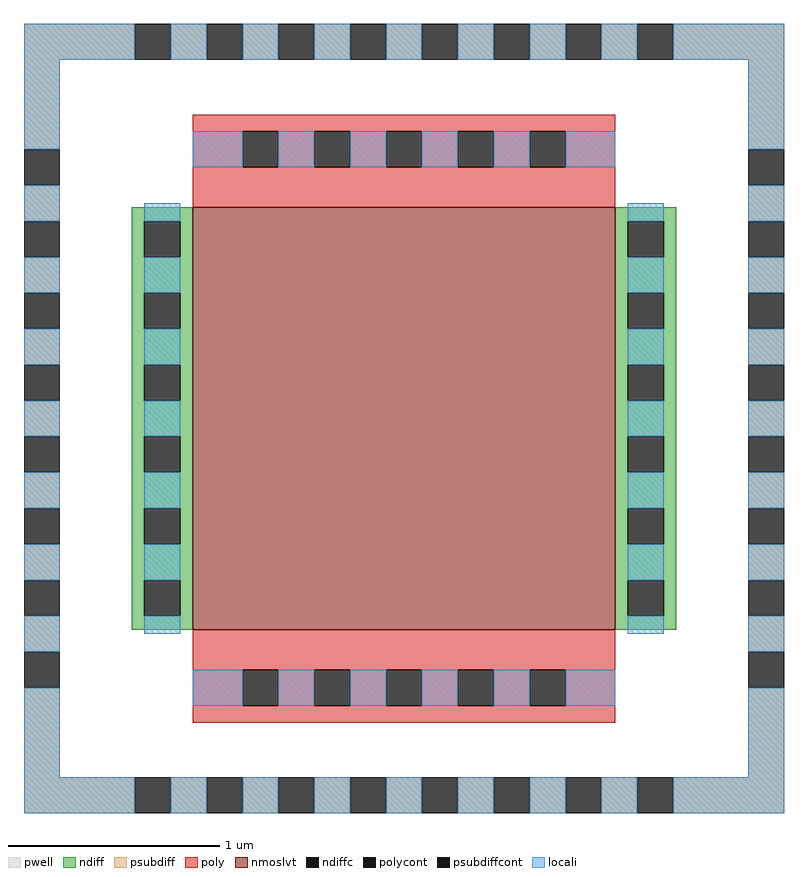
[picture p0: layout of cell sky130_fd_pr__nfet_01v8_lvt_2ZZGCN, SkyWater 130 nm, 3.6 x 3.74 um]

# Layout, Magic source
magic
tech sky130A
magscale 1 2
<< pwell >>
rect -360 340 360 374
rect -360 -340 -326 340
rect 326 -340 360 340
rect -360 -374 360 -340
<< nmoslvt >>
rect -200 -200 200 200
<< ndiff >>
rect -258 187 -200 200
rect -258 153 -246 187
rect -212 153 -200 187
rect -258 119 -200 153
rect -258 85 -246 119
rect -212 85 -200 119
rect -258 51 -200 85
rect -258 17 -246 51
rect -212 17 -200 51
rect -258 -17 -200 17
rect -258 -51 -246 -17
rect -212 -51 -200 -17
rect -258 -85 -200 -51
rect -258 -119 -246 -85
rect -212 -119 -200 -85
rect -258 -153 -200 -119
rect -258 -187 -246 -153
rect -212 -187 -200 -153
rect -258 -200 -200 -187
rect 200 187 258 200
rect 200 153 212 187
rect 246 153 258 187
rect 200 119 258 153
rect 200 85 212 119
rect 246 85 258 119
rect 200 51 258 85
rect 200 17 212 51
rect 246 17 258 51
rect 200 -17 258 17
rect 200 -51 212 -17
rect 246 -51 258 -17
rect 200 -85 258 -51
rect 200 -119 212 -85
rect 246 -119 258 -85
rect 200 -153 258 -119
rect 200 -187 212 -153
rect 246 -187 258 -153
rect 200 -200 258 -187
<< ndiffc >>
rect -246 153 -212 187
rect -246 85 -212 119
rect -246 17 -212 51
rect -246 -51 -212 -17
rect -246 -119 -212 -85
rect -246 -187 -212 -153
rect 212 153 246 187
rect 212 85 246 119
rect 212 17 246 51
rect 212 -51 246 -17
rect 212 -119 246 -85
rect 212 -187 246 -153
<< psubdiff >>
rect -360 340 -255 374
rect -221 340 -187 374
rect -153 340 -119 374
rect -85 340 -51 374
rect -17 340 17 374
rect 51 340 85 374
rect 119 340 153 374
rect 187 340 221 374
rect 255 340 360 374
rect -360 255 -326 340
rect -360 187 -326 221
rect 326 255 360 340
rect -360 119 -326 153
rect -360 51 -326 85
rect -360 -17 -326 17
rect -360 -85 -326 -51
rect -360 -153 -326 -119
rect -360 -221 -326 -187
rect 326 187 360 221
rect 326 119 360 153
rect 326 51 360 85
rect 326 -17 360 17
rect 326 -85 360 -51
rect 326 -153 360 -119
rect -360 -340 -326 -255
rect 326 -221 360 -187
rect 326 -340 360 -255
rect -360 -374 -255 -340
rect -221 -374 -187 -340
rect -153 -374 -119 -340
rect -85 -374 -51 -340
rect -17 -374 17 -340
rect 51 -374 85 -340
rect 119 -374 153 -340
rect 187 -374 221 -340
rect 255 -374 360 -340
<< psubdiffcont >>
rect -255 340 -221 374
rect -187 340 -153 374
rect -119 340 -85 374
rect -51 340 -17 374
rect 17 340 51 374
rect 85 340 119 374
rect 153 340 187 374
rect 221 340 255 374
rect -360 221 -326 255
rect 326 221 360 255
rect -360 153 -326 187
rect -360 85 -326 119
rect -360 17 -326 51
rect -360 -51 -326 -17
rect -360 -119 -326 -85
rect -360 -187 -326 -153
rect 326 153 360 187
rect 326 85 360 119
rect 326 17 360 51
rect 326 -51 360 -17
rect 326 -119 360 -85
rect 326 -187 360 -153
rect -360 -255 -326 -221
rect 326 -255 360 -221
rect -255 -374 -221 -340
rect -187 -374 -153 -340
rect -119 -374 -85 -340
rect -51 -374 -17 -340
rect 17 -374 51 -340
rect 85 -374 119 -340
rect 153 -374 187 -340
rect 221 -374 255 -340
<< poly >>
rect -200 272 200 288
rect -200 238 -153 272
rect -119 238 -85 272
rect -51 238 -17 272
rect 17 238 51 272
rect 85 238 119 272
rect 153 238 200 272
rect -200 200 200 238
rect -200 -238 200 -200
rect -200 -272 -153 -238
rect -119 -272 -85 -238
rect -51 -272 -17 -238
rect 17 -272 51 -238
rect 85 -272 119 -238
rect 153 -272 200 -238
rect -200 -288 200 -272
<< polycont >>
rect -153 238 -119 272
rect -85 238 -51 272
rect -17 238 17 272
rect 51 238 85 272
rect 119 238 153 272
rect -153 -272 -119 -238
rect -85 -272 -51 -238
rect -17 -272 17 -238
rect 51 -272 85 -238
rect 119 -272 153 -238
<< locali >>
rect -360 340 -255 374
rect -221 340 -187 374
rect -153 340 -119 374
rect -85 340 -51 374
rect -17 340 17 374
rect 51 340 85 374
rect 119 340 153 374
rect 187 340 221 374
rect 255 340 360 374
rect -360 255 -326 340
rect -200 238 -153 272
rect -119 238 -85 272
rect -51 238 -17 272
rect 17 238 51 272
rect 85 238 119 272
rect 153 238 200 272
rect 326 255 360 340
rect -360 187 -326 221
rect -360 119 -326 153
rect -360 51 -326 85
rect -360 -17 -326 17
rect -360 -85 -326 -51
rect -360 -153 -326 -119
rect -360 -221 -326 -187
rect -246 187 -212 204
rect -246 119 -212 153
rect -246 51 -212 85
rect -246 -17 -212 17
rect -246 -85 -212 -51
rect -246 -153 -212 -119
rect -246 -204 -212 -187
rect 212 187 246 204
rect 212 119 246 153
rect 212 51 246 85
rect 212 -17 246 17
rect 212 -85 246 -51
rect 212 -153 246 -119
rect 212 -204 246 -187
rect 326 187 360 221
rect 326 119 360 153
rect 326 51 360 85
rect 326 -17 360 17
rect 326 -85 360 -51
rect 326 -153 360 -119
rect 326 -221 360 -187
rect -360 -340 -326 -255
rect -200 -272 -153 -238
rect -119 -272 -85 -238
rect -51 -272 -17 -238
rect 17 -272 51 -238
rect 85 -272 119 -238
rect 153 -272 200 -238
rect 326 -340 360 -255
rect -360 -374 -255 -340
rect -221 -374 -187 -340
rect -153 -374 -119 -340
rect -85 -374 -51 -340
rect -17 -374 17 -340
rect 51 -374 85 -340
rect 119 -374 153 -340
rect 187 -374 221 -340
rect 255 -374 360 -340
<< properties >>
string FIXED_BBOX -342 -356 342 356
<< end >>
